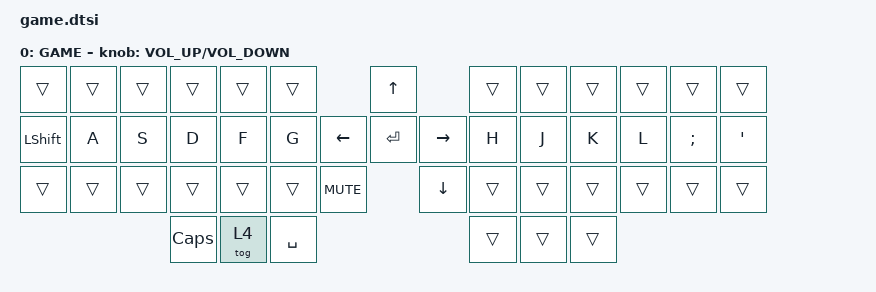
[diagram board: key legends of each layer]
/ {
    keymap {
        compatible = "zmk,keymap";

        layer_4 {
            display-name = "GAME";
            bindings = <
&trans      &trans  &trans  &trans     &trans   &trans                              &kp UP                &trans   &trans   &trans   &trans   &trans     &trans
&kp LSHFT   &kp A   &kp S   &kp D      &kp F    &kp G                     &kp LEFT  &kp ENTER  &kp RIGHT  &kp H    &kp J    &kp K    &kp L    &kp SEMI   &kp SQT
&trans      &trans  &trans  &trans     &trans   &trans       &kp C_MUTE             &kp DOWN              &trans   &trans   &trans   &trans   &trans     &trans
                            &kp CAPS   &tog 4   &kp SPACE                                                 &trans   &trans   &trans
            >;
            sensor-bindings = <&inc_dec_kp C_VOLUME_UP C_VOLUME_DOWN>;
        };
    };
};
